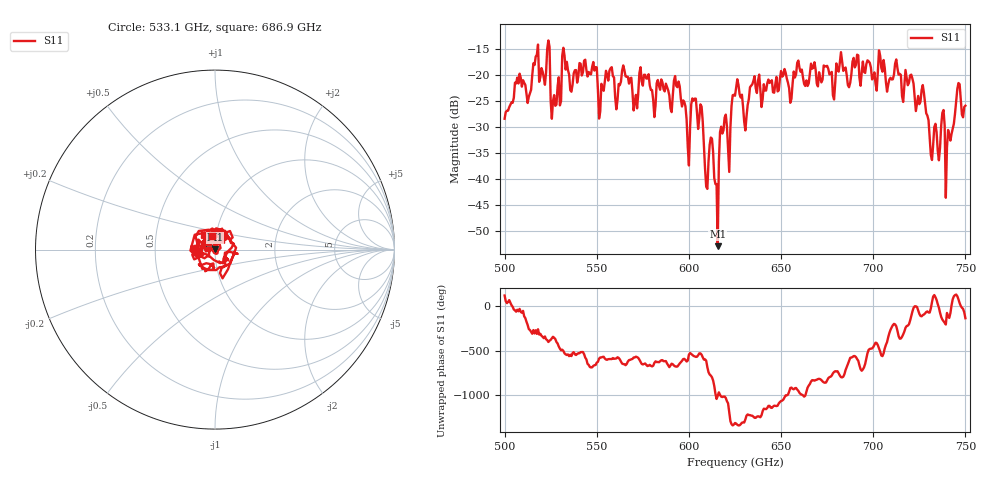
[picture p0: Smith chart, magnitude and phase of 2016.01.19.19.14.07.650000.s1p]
!Created with skrf (http://scikit-rf.org).
# GHz S RI R 50.0
!freq ReS11 ImS11
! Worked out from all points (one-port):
!   401 points, 500 GHz to 750 GHz, reference 50 ohm
!   lowest |S11| = -52.9 dB at 615.6 GHz (marker M1), VSWR 1.00, Z = 50.1 + j0.219 ohm
!   |S11| at or under -10 dB: start of sweep to end of sweep
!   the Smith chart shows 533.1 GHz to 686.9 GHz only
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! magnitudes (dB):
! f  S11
! 500 GHz  -28.4
! 507.5 GHz  -21.6
! 513.1 GHz  -24.2
! 516.9 GHz  -16.5
! 523.1 GHz  -14.9
! 526.2 GHz  -25.0
! 531.2 GHz  -16.3
! 562.5 GHz  -22.0
! 593.8 GHz  -22.4
! 599.4 GHz  -33.8
! 603.1 GHz  -24.6
! 609.4 GHz  -41.5
! 611.9 GHz  -32.0
! 615.6 GHz  -52.9
! 618.1 GHz  -31.3
! 621.9 GHz  -38.6
! 625 GHz  -24.0
! 630.6 GHz  -30.7
! 634.4 GHz  -21.8
! 656.2 GHz  -21.7
! 687.5 GHz  -21.5
! 718.8 GHz  -22.0
! 727.5 GHz  -23.5
! 731.9 GHz  -36.3
! 737.5 GHz  -27.3
! 740.6 GHz  -30.6
! 746.2 GHz  -21.6
! 750 GHz  -25.9
